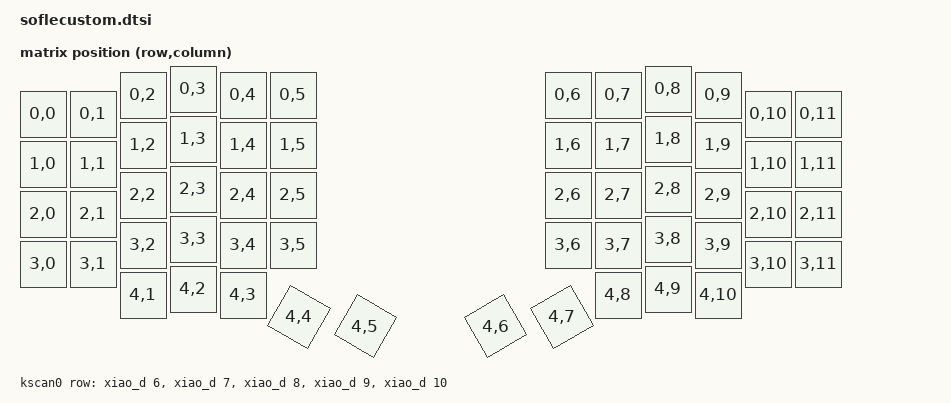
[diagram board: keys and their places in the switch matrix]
#include <dt-bindings/zmk/matrix_transform.h>

/ {
    chosen {
        zmk,kscan = &kscan0;
        zmk,matrix_transform = &default_transform;
        zmk,physical-layout = &physical_layout0;
    };

    default_transform: keymap_transform_0 {
        compatible = "zmk,matrix-transform";
        columns = <12>;
        rows = <5>;
// | SW6  | SW5  | SW4  | SW3  | SW2  | SW1  |                 | SW1  | SW2  | SW3  | SW4  | SW5  | SW6  |
// | SW12 | SW11 | SW10 | SW9  | SW8  | SW7  |                 | SW7  | SW8  | SW9  | SW10 | SW11 | SW12 |
// | SW18 | SW17 | SW16 | SW15 | SW14 | SW13 |                 | SW13 | SW14 | SW15 | SW16 | SW17 | SW18 |
// | SW24 | SW23 | SW22 | SW21 | SW20 | SW19 | SW25 |   | SW25 | SW19 | SW20 | SW21 | SW22 | SW23 | SW24 |
//               | SW30 | SW29 | SW28 | SW27 | SW26 |   | SW26 | SW27 | SW28 | SW29 | SW30 |
        map = <
RC(0,0) RC(0,1) RC(0,2) RC(0,3) RC(0,4) RC(0,5)                 RC(0,6) RC(0,7) RC(0,8)  RC(0,9) RC(0,10) RC(0,11)
RC(1,0) RC(1,1) RC(1,2) RC(1,3) RC(1,4) RC(1,5)                 RC(1,6) RC(1,7) RC(1,8)  RC(1,9) RC(1,10) RC(1,11)
RC(2,0) RC(2,1) RC(2,2) RC(2,3) RC(2,4) RC(2,5)                 RC(2,6) RC(2,7) RC(2,8)  RC(2,9) RC(2,10) RC(2,11)
RC(3,0) RC(3,1) RC(3,2) RC(3,3) RC(3,4) RC(3,5)                 RC(3,6) RC(3,7) RC(3,8) RC(3,9)  RC(3,10)  RC(3,11) 
                RC(4,1) RC(4,2) RC(4,3) RC(4,4) RC(4,5) RC(4,6) RC(4,7) RC(4,8) RC(4,9)  RC(4,10)
        >;
    };

	kscan0: kscan {
		compatible = "zmk,kscan-gpio-matrix";
		label = "KSCAN";
        wakeup-source;
		diode-direction = "col2row";
		row-gpios
			= <&xiao_d 6 (GPIO_ACTIVE_HIGH | GPIO_PULL_DOWN)>
			, <&xiao_d 7 (GPIO_ACTIVE_HIGH | GPIO_PULL_DOWN)>
			, <&xiao_d 8 (GPIO_ACTIVE_HIGH | GPIO_PULL_DOWN)>
			, <&xiao_d 9 (GPIO_ACTIVE_HIGH | GPIO_PULL_DOWN)>
            , <&xiao_d 10 (GPIO_ACTIVE_HIGH | GPIO_PULL_DOWN)>
			;	
	};
    
    physical_layout0: physical_layout0 {
        compatible = "zmk,physical-layout";
        display-name = "Sofle Layout";

        kscan = <&kscan0>;
        transform = <&default_transform>;

        keys  //                     w   h    x    y     rot    rx    ry
            = <&key_physical_attrs 100 100    0   50       0     0     0>
            , <&key_physical_attrs 100 100  100   50       0     0     0>
            , <&key_physical_attrs 100 100  200   12       0     0     0>
            , <&key_physical_attrs 100 100  300    0       0     0     0>
            , <&key_physical_attrs 100 100  400   12       0     0     0>
            , <&key_physical_attrs 100 100  500   12       0     0     0>
            , <&key_physical_attrs 100 100 1050   12       0     0     0>
            , <&key_physical_attrs 100 100 1150   12       0     0     0>
            , <&key_physical_attrs 100 100 1250    0       0     0     0>
            , <&key_physical_attrs 100 100 1350   12       0     0     0>
            , <&key_physical_attrs 100 100 1450   50       0     0     0>
            , <&key_physical_attrs 100 100 1550   50       0     0     0>
            , <&key_physical_attrs 100 100    0  150       0     0     0>
            , <&key_physical_attrs 100 100  100  150       0     0     0>
            , <&key_physical_attrs 100 100  200  112       0     0     0>
            , <&key_physical_attrs 100 100  300  100       0     0     0>
            , <&key_physical_attrs 100 100  400  112       0     0     0>
            , <&key_physical_attrs 100 100  500  112       0     0     0>
            , <&key_physical_attrs 100 100 1050  112       0     0     0>
            , <&key_physical_attrs 100 100 1150  112       0     0     0>
            , <&key_physical_attrs 100 100 1250  100       0     0     0>
            , <&key_physical_attrs 100 100 1350  112       0     0     0>
            , <&key_physical_attrs 100 100 1450  150       0     0     0>
            , <&key_physical_attrs 100 100 1550  150       0     0     0>
            , <&key_physical_attrs 100 100    0  250       0     0     0>
            , <&key_physical_attrs 100 100  100  250       0     0     0>
            , <&key_physical_attrs 100 100  200  212       0     0     0>
            , <&key_physical_attrs 100 100  300  200       0     0     0>
            , <&key_physical_attrs 100 100  400  212       0     0     0>
            , <&key_physical_attrs 100 100  500  212       0     0     0>
            , <&key_physical_attrs 100 100 1050  212       0     0     0>
            , <&key_physical_attrs 100 100 1150  212       0     0     0>
            , <&key_physical_attrs 100 100 1250  200       0     0     0>
            , <&key_physical_attrs 100 100 1350  212       0     0     0>
            , <&key_physical_attrs 100 100 1450  250       0     0     0>
            , <&key_physical_attrs 100 100 1550  250       0     0     0>
            , <&key_physical_attrs 100 100    0  350       0     0     0>
            , <&key_physical_attrs 100 100  100  350       0     0     0>
            , <&key_physical_attrs 100 100  200  312       0     0     0>
            , <&key_physical_attrs 100 100  300  300       0     0     0>
            , <&key_physical_attrs 100 100  400  312       0     0     0>
            , <&key_physical_attrs 100 100  500  312       0     0     0>
            , <&key_physical_attrs 100 100 1050  312       0     0     0>
            , <&key_physical_attrs 100 100 1150  312       0     0     0>
            , <&key_physical_attrs 100 100 1250  300       0     0     0>
            , <&key_physical_attrs 100 100 1350  312       0     0     0>
            , <&key_physical_attrs 100 100 1450  350       0     0     0>
            , <&key_physical_attrs 100 100 1550  350       0     0     0>
            , <&key_physical_attrs 100 100  200  412       0     0     0>
            , <&key_physical_attrs 100 100  300  400       0     0     0>
            , <&key_physical_attrs 100 100  400  412       0     0     0>
            , <&key_physical_attrs 100 100  550  412    3000   500   412>
            , <&key_physical_attrs 100 100  675  362    3000   500   412>
            , <&key_physical_attrs 100 100  875  362 (-3000)  1150   412>
            , <&key_physical_attrs 100 100 1000  412 (-3000)  1150   412>
            , <&key_physical_attrs 100 100 1150  412       0     0     0>
            , <&key_physical_attrs 100 100 1250  400       0     0     0>
            , <&key_physical_attrs 100 100 1350  412       0     0     0>
            ;
    };

    /* --- Wakeup after Soft-off using space key --- */
    keys {
        compatible = "gpio-keys";
        soft_off_gpio_key: soft_off_gpio_key {
            gpios = <&xiao_d 10 (GPIO_ACTIVE_HIGH | GPIO_PULL_DOWN)>; // last row
        };
    };

    wakeup_scan: wakeup_scan {
        compatible = "zmk,gpio-key-wakeup-trigger";
        trigger = <&soft_off_gpio_key>;
        wakeup-source;
        extra-gpios = <&xiao_d 5 GPIO_ACTIVE_HIGH>; // col 6
    };

    soft_off_wakers {
        compatible = "zmk,soft-off-wakeup-sources";
        wakeup-sources = <&wakeup_scan>;
    };

};

